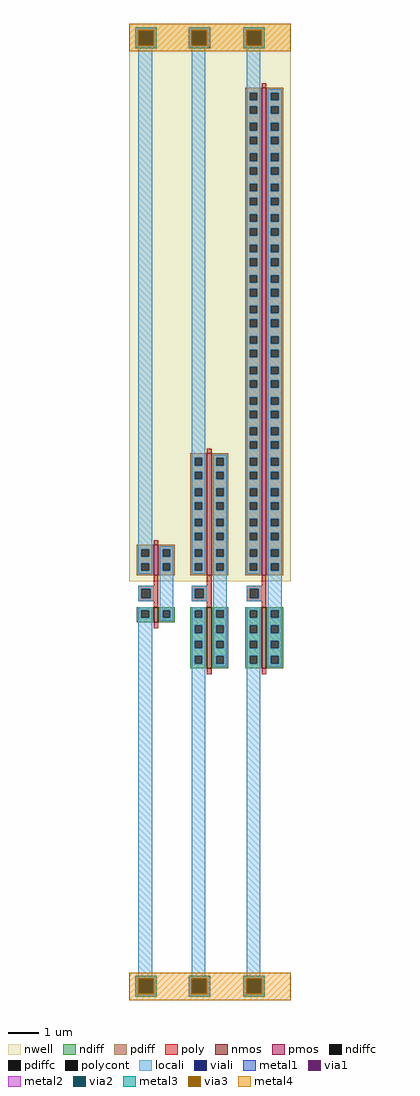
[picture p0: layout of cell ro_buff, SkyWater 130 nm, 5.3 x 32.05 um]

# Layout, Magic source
magic
tech sky130A
<< nwell >>
rect -80 125 450 1955
<< nmos >>
rect 0 -10 15 40
rect 175 -160 190 40
rect 355 -160 370 40
<< pmos >>
rect 0 145 15 245
rect 175 145 190 545
rect 355 145 370 1745
<< ndiff >>
rect -55 30 0 40
rect -55 5 -40 30
rect -15 5 0 30
rect -55 -10 0 5
rect 15 30 70 40
rect 15 5 30 30
rect 55 5 70 30
rect 15 -10 70 5
rect 120 30 175 40
rect 120 5 135 30
rect 160 5 175 30
rect 120 -20 175 5
rect 120 -45 135 -20
rect 160 -45 175 -20
rect 120 -70 175 -45
rect 120 -95 135 -70
rect 160 -95 175 -70
rect 120 -120 175 -95
rect 120 -145 135 -120
rect 160 -145 175 -120
rect 120 -160 175 -145
rect 190 30 245 40
rect 190 5 205 30
rect 230 5 245 30
rect 190 -20 245 5
rect 190 -45 205 -20
rect 230 -45 245 -20
rect 190 -70 245 -45
rect 190 -95 205 -70
rect 230 -95 245 -70
rect 190 -120 245 -95
rect 190 -145 205 -120
rect 230 -145 245 -120
rect 190 -160 245 -145
rect 300 30 355 40
rect 300 5 315 30
rect 340 5 355 30
rect 300 -20 355 5
rect 300 -45 315 -20
rect 340 -45 355 -20
rect 300 -70 355 -45
rect 300 -95 315 -70
rect 340 -95 355 -70
rect 300 -120 355 -95
rect 300 -145 315 -120
rect 340 -145 355 -120
rect 300 -160 355 -145
rect 370 30 425 40
rect 370 5 385 30
rect 410 5 425 30
rect 370 -20 425 5
rect 370 -45 385 -20
rect 410 -45 425 -20
rect 370 -70 425 -45
rect 370 -95 385 -70
rect 410 -95 425 -70
rect 370 -120 425 -95
rect 370 -145 385 -120
rect 410 -145 425 -120
rect 370 -160 425 -145
<< pdiff >>
rect 300 1730 355 1745
rect 300 1705 315 1730
rect 340 1705 355 1730
rect 300 1685 355 1705
rect 300 1660 315 1685
rect 340 1660 355 1685
rect 300 1630 355 1660
rect 300 1605 315 1630
rect 340 1605 355 1630
rect 300 1585 355 1605
rect 300 1560 315 1585
rect 340 1560 355 1585
rect 300 1530 355 1560
rect 300 1505 315 1530
rect 340 1505 355 1530
rect 300 1485 355 1505
rect 300 1460 315 1485
rect 340 1460 355 1485
rect 300 1430 355 1460
rect 300 1405 315 1430
rect 340 1405 355 1430
rect 300 1385 355 1405
rect 300 1360 315 1385
rect 340 1360 355 1385
rect 300 1330 355 1360
rect 300 1305 315 1330
rect 340 1305 355 1330
rect 300 1285 355 1305
rect 300 1260 315 1285
rect 340 1260 355 1285
rect 300 1230 355 1260
rect 300 1205 315 1230
rect 340 1205 355 1230
rect 300 1185 355 1205
rect 300 1160 315 1185
rect 340 1160 355 1185
rect 300 1130 355 1160
rect 300 1105 315 1130
rect 340 1105 355 1130
rect 300 1085 355 1105
rect 300 1060 315 1085
rect 340 1060 355 1085
rect 300 1030 355 1060
rect 300 1005 315 1030
rect 340 1005 355 1030
rect 300 985 355 1005
rect 300 960 315 985
rect 340 960 355 985
rect 300 930 355 960
rect 300 905 315 930
rect 340 905 355 930
rect 300 885 355 905
rect 300 860 315 885
rect 340 860 355 885
rect 300 830 355 860
rect 300 805 315 830
rect 340 805 355 830
rect 300 785 355 805
rect 300 760 315 785
rect 340 760 355 785
rect 300 730 355 760
rect 300 705 315 730
rect 340 705 355 730
rect 300 685 355 705
rect 300 660 315 685
rect 340 660 355 685
rect 300 630 355 660
rect 300 605 315 630
rect 340 605 355 630
rect 300 585 355 605
rect 300 560 315 585
rect 340 560 355 585
rect 120 530 175 545
rect 120 505 135 530
rect 160 505 175 530
rect 120 485 175 505
rect 120 460 135 485
rect 160 460 175 485
rect 120 430 175 460
rect 120 405 135 430
rect 160 405 175 430
rect 120 385 175 405
rect 120 360 135 385
rect 160 360 175 385
rect 120 330 175 360
rect 120 305 135 330
rect 160 305 175 330
rect 120 285 175 305
rect 120 260 135 285
rect 160 260 175 285
rect -55 230 0 245
rect -55 205 -40 230
rect -15 205 0 230
rect -55 185 0 205
rect -55 160 -40 185
rect -15 160 0 185
rect -55 145 0 160
rect 15 230 70 245
rect 15 205 30 230
rect 55 205 70 230
rect 15 185 70 205
rect 15 160 30 185
rect 55 160 70 185
rect 15 145 70 160
rect 120 230 175 260
rect 120 205 135 230
rect 160 205 175 230
rect 120 185 175 205
rect 120 160 135 185
rect 160 160 175 185
rect 120 145 175 160
rect 190 530 245 545
rect 190 505 205 530
rect 230 505 245 530
rect 190 485 245 505
rect 190 460 205 485
rect 230 460 245 485
rect 190 430 245 460
rect 190 405 205 430
rect 230 405 245 430
rect 190 385 245 405
rect 190 360 205 385
rect 230 360 245 385
rect 190 330 245 360
rect 190 305 205 330
rect 230 305 245 330
rect 190 285 245 305
rect 190 260 205 285
rect 230 260 245 285
rect 190 230 245 260
rect 190 205 205 230
rect 230 205 245 230
rect 190 185 245 205
rect 190 160 205 185
rect 230 160 245 185
rect 190 145 245 160
rect 300 530 355 560
rect 300 505 315 530
rect 340 505 355 530
rect 300 485 355 505
rect 300 460 315 485
rect 340 460 355 485
rect 300 430 355 460
rect 300 405 315 430
rect 340 405 355 430
rect 300 385 355 405
rect 300 360 315 385
rect 340 360 355 385
rect 300 330 355 360
rect 300 305 315 330
rect 340 305 355 330
rect 300 285 355 305
rect 300 260 315 285
rect 340 260 355 285
rect 300 230 355 260
rect 300 205 315 230
rect 340 205 355 230
rect 300 185 355 205
rect 300 160 315 185
rect 340 160 355 185
rect 300 145 355 160
rect 370 1730 425 1745
rect 370 1705 385 1730
rect 410 1705 425 1730
rect 370 1685 425 1705
rect 370 1660 385 1685
rect 410 1660 425 1685
rect 370 1630 425 1660
rect 370 1605 385 1630
rect 410 1605 425 1630
rect 370 1585 425 1605
rect 370 1560 385 1585
rect 410 1560 425 1585
rect 370 1530 425 1560
rect 370 1505 385 1530
rect 410 1505 425 1530
rect 370 1485 425 1505
rect 370 1460 385 1485
rect 410 1460 425 1485
rect 370 1430 425 1460
rect 370 1405 385 1430
rect 410 1405 425 1430
rect 370 1385 425 1405
rect 370 1360 385 1385
rect 410 1360 425 1385
rect 370 1330 425 1360
rect 370 1305 385 1330
rect 410 1305 425 1330
rect 370 1285 425 1305
rect 370 1260 385 1285
rect 410 1260 425 1285
rect 370 1230 425 1260
rect 370 1205 385 1230
rect 410 1205 425 1230
rect 370 1185 425 1205
rect 370 1160 385 1185
rect 410 1160 425 1185
rect 370 1130 425 1160
rect 370 1105 385 1130
rect 410 1105 425 1130
rect 370 1085 425 1105
rect 370 1060 385 1085
rect 410 1060 425 1085
rect 370 1030 425 1060
rect 370 1005 385 1030
rect 410 1005 425 1030
rect 370 985 425 1005
rect 370 960 385 985
rect 410 960 425 985
rect 370 930 425 960
rect 370 905 385 930
rect 410 905 425 930
rect 370 885 425 905
rect 370 860 385 885
rect 410 860 425 885
rect 370 830 425 860
rect 370 805 385 830
rect 410 805 425 830
rect 370 785 425 805
rect 370 760 385 785
rect 410 760 425 785
rect 370 730 425 760
rect 370 705 385 730
rect 410 705 425 730
rect 370 685 425 705
rect 370 660 385 685
rect 410 660 425 685
rect 370 630 425 660
rect 370 605 385 630
rect 410 605 425 630
rect 370 585 425 605
rect 370 560 385 585
rect 410 560 425 585
rect 370 530 425 560
rect 370 505 385 530
rect 410 505 425 530
rect 370 485 425 505
rect 370 460 385 485
rect 410 460 425 485
rect 370 430 425 460
rect 370 405 385 430
rect 410 405 425 430
rect 370 385 425 405
rect 370 360 385 385
rect 410 360 425 385
rect 370 330 425 360
rect 370 305 385 330
rect 410 305 425 330
rect 370 285 425 305
rect 370 260 385 285
rect 410 260 425 285
rect 370 230 425 260
rect 370 205 385 230
rect 410 205 425 230
rect 370 185 425 205
rect 370 160 385 185
rect 410 160 425 185
rect 370 145 425 160
<< ndiffc >>
rect -40 5 -15 30
rect 30 5 55 30
rect 135 5 160 30
rect 135 -45 160 -20
rect 135 -95 160 -70
rect 135 -145 160 -120
rect 205 5 230 30
rect 205 -45 230 -20
rect 205 -95 230 -70
rect 205 -145 230 -120
rect 315 5 340 30
rect 315 -45 340 -20
rect 315 -95 340 -70
rect 315 -145 340 -120
rect 385 5 410 30
rect 385 -45 410 -20
rect 385 -95 410 -70
rect 385 -145 410 -120
<< pdiffc >>
rect 315 1705 340 1730
rect 315 1660 340 1685
rect 315 1605 340 1630
rect 315 1560 340 1585
rect 315 1505 340 1530
rect 315 1460 340 1485
rect 315 1405 340 1430
rect 315 1360 340 1385
rect 315 1305 340 1330
rect 315 1260 340 1285
rect 315 1205 340 1230
rect 315 1160 340 1185
rect 315 1105 340 1130
rect 315 1060 340 1085
rect 315 1005 340 1030
rect 315 960 340 985
rect 315 905 340 930
rect 315 860 340 885
rect 315 805 340 830
rect 315 760 340 785
rect 315 705 340 730
rect 315 660 340 685
rect 315 605 340 630
rect 315 560 340 585
rect 135 505 160 530
rect 135 460 160 485
rect 135 405 160 430
rect 135 360 160 385
rect 135 305 160 330
rect 135 260 160 285
rect -40 205 -15 230
rect -40 160 -15 185
rect 30 205 55 230
rect 30 160 55 185
rect 135 205 160 230
rect 135 160 160 185
rect 205 505 230 530
rect 205 460 230 485
rect 205 405 230 430
rect 205 360 230 385
rect 205 305 230 330
rect 205 260 230 285
rect 205 205 230 230
rect 205 160 230 185
rect 315 505 340 530
rect 315 460 340 485
rect 315 405 340 430
rect 315 360 340 385
rect 315 305 340 330
rect 315 260 340 285
rect 315 205 340 230
rect 315 160 340 185
rect 385 1705 410 1730
rect 385 1660 410 1685
rect 385 1605 410 1630
rect 385 1560 410 1585
rect 385 1505 410 1530
rect 385 1460 410 1485
rect 385 1405 410 1430
rect 385 1360 410 1385
rect 385 1305 410 1330
rect 385 1260 410 1285
rect 385 1205 410 1230
rect 385 1160 410 1185
rect 385 1105 410 1130
rect 385 1060 410 1085
rect 385 1005 410 1030
rect 385 960 410 985
rect 385 905 410 930
rect 385 860 410 885
rect 385 805 410 830
rect 385 760 410 785
rect 385 705 410 730
rect 385 660 410 685
rect 385 605 410 630
rect 385 560 410 585
rect 385 505 410 530
rect 385 460 410 485
rect 385 405 410 430
rect 385 360 410 385
rect 385 305 410 330
rect 385 260 410 285
rect 385 205 410 230
rect 385 160 410 185
<< poly >>
rect 355 1745 370 1760
rect 175 545 190 560
rect 0 245 15 260
rect 0 110 15 145
rect 175 110 190 145
rect 355 110 370 145
rect -50 100 15 110
rect -50 70 -40 100
rect -10 70 15 100
rect -50 60 15 70
rect 125 100 190 110
rect 125 70 135 100
rect 165 70 190 100
rect 125 60 190 70
rect 305 100 370 110
rect 305 70 315 100
rect 345 70 370 100
rect 305 60 370 70
rect 0 40 15 60
rect 175 40 190 60
rect 355 40 370 60
rect 0 -30 15 -10
rect 175 -180 190 -160
rect 355 -180 370 -160
<< polycont >>
rect -40 70 -10 100
rect 135 70 165 100
rect 315 70 345 100
<< locali >>
rect -60 1935 10 1945
rect -60 1885 -50 1935
rect 0 1885 10 1935
rect -60 1875 10 1885
rect 115 1935 185 1945
rect 115 1885 125 1935
rect 175 1885 185 1935
rect 115 1875 185 1885
rect 295 1935 365 1945
rect 295 1885 305 1935
rect 355 1885 365 1935
rect 295 1875 365 1885
rect -50 230 -5 1875
rect 125 530 170 1875
rect 305 1730 350 1875
rect 305 1705 315 1730
rect 340 1705 350 1730
rect 305 1685 350 1705
rect 305 1660 315 1685
rect 340 1660 350 1685
rect 305 1630 350 1660
rect 305 1605 315 1630
rect 340 1605 350 1630
rect 305 1585 350 1605
rect 305 1560 315 1585
rect 340 1560 350 1585
rect 305 1530 350 1560
rect 305 1505 315 1530
rect 340 1505 350 1530
rect 305 1485 350 1505
rect 305 1460 315 1485
rect 340 1460 350 1485
rect 305 1430 350 1460
rect 305 1405 315 1430
rect 340 1405 350 1430
rect 305 1385 350 1405
rect 305 1360 315 1385
rect 340 1360 350 1385
rect 305 1330 350 1360
rect 305 1305 315 1330
rect 340 1305 350 1330
rect 305 1285 350 1305
rect 305 1260 315 1285
rect 340 1260 350 1285
rect 305 1230 350 1260
rect 305 1205 315 1230
rect 340 1205 350 1230
rect 305 1185 350 1205
rect 305 1160 315 1185
rect 340 1160 350 1185
rect 305 1130 350 1160
rect 305 1105 315 1130
rect 340 1105 350 1130
rect 305 1085 350 1105
rect 305 1060 315 1085
rect 340 1060 350 1085
rect 305 1030 350 1060
rect 305 1005 315 1030
rect 340 1005 350 1030
rect 305 985 350 1005
rect 305 960 315 985
rect 340 960 350 985
rect 305 930 350 960
rect 305 905 315 930
rect 340 905 350 930
rect 305 885 350 905
rect 305 860 315 885
rect 340 860 350 885
rect 305 830 350 860
rect 305 805 315 830
rect 340 805 350 830
rect 305 785 350 805
rect 305 760 315 785
rect 340 760 350 785
rect 305 730 350 760
rect 305 705 315 730
rect 340 705 350 730
rect 305 685 350 705
rect 305 660 315 685
rect 340 660 350 685
rect 305 630 350 660
rect 305 605 315 630
rect 340 605 350 630
rect 305 585 350 605
rect 305 560 315 585
rect 340 560 350 585
rect 125 505 135 530
rect 160 505 170 530
rect 125 485 170 505
rect 125 460 135 485
rect 160 460 170 485
rect 125 430 170 460
rect 125 405 135 430
rect 160 405 170 430
rect 125 385 170 405
rect 125 360 135 385
rect 160 360 170 385
rect 125 330 170 360
rect 125 305 135 330
rect 160 305 170 330
rect 125 285 170 305
rect 125 260 135 285
rect 160 260 170 285
rect -50 205 -40 230
rect -15 205 -5 230
rect -50 185 -5 205
rect -50 160 -40 185
rect -15 160 -5 185
rect -50 150 -5 160
rect 20 230 65 240
rect 20 205 30 230
rect 55 205 65 230
rect 20 185 65 205
rect 20 160 30 185
rect 55 160 65 185
rect -50 100 0 110
rect -50 70 -40 100
rect -10 70 0 100
rect -50 60 0 70
rect -50 30 -5 40
rect -50 5 -40 30
rect -15 5 -5 30
rect -50 -1170 -5 5
rect 20 30 65 160
rect 125 230 170 260
rect 125 205 135 230
rect 160 205 170 230
rect 125 185 170 205
rect 125 160 135 185
rect 160 160 170 185
rect 125 150 170 160
rect 195 530 240 540
rect 195 505 205 530
rect 230 505 240 530
rect 195 485 240 505
rect 195 460 205 485
rect 230 460 240 485
rect 195 430 240 460
rect 195 405 205 430
rect 230 405 240 430
rect 195 385 240 405
rect 195 360 205 385
rect 230 360 240 385
rect 195 330 240 360
rect 195 305 205 330
rect 230 305 240 330
rect 195 285 240 305
rect 195 260 205 285
rect 230 260 240 285
rect 195 230 240 260
rect 195 205 205 230
rect 230 205 240 230
rect 195 185 240 205
rect 195 160 205 185
rect 230 160 240 185
rect 125 100 175 110
rect 125 70 135 100
rect 165 70 175 100
rect 125 60 175 70
rect 20 5 30 30
rect 55 5 65 30
rect 20 -5 65 5
rect 125 30 170 40
rect 125 5 135 30
rect 160 5 170 30
rect 125 -20 170 5
rect 125 -45 135 -20
rect 160 -45 170 -20
rect 125 -70 170 -45
rect 125 -95 135 -70
rect 160 -95 170 -70
rect 125 -120 170 -95
rect 125 -145 135 -120
rect 160 -145 170 -120
rect 125 -1170 170 -145
rect 195 30 240 160
rect 305 530 350 560
rect 305 505 315 530
rect 340 505 350 530
rect 305 485 350 505
rect 305 460 315 485
rect 340 460 350 485
rect 305 430 350 460
rect 305 405 315 430
rect 340 405 350 430
rect 305 385 350 405
rect 305 360 315 385
rect 340 360 350 385
rect 305 330 350 360
rect 305 305 315 330
rect 340 305 350 330
rect 305 285 350 305
rect 305 260 315 285
rect 340 260 350 285
rect 305 230 350 260
rect 305 205 315 230
rect 340 205 350 230
rect 305 185 350 205
rect 305 160 315 185
rect 340 160 350 185
rect 305 150 350 160
rect 375 1730 420 1740
rect 375 1705 385 1730
rect 410 1705 420 1730
rect 375 1685 420 1705
rect 375 1660 385 1685
rect 410 1660 420 1685
rect 375 1630 420 1660
rect 375 1605 385 1630
rect 410 1605 420 1630
rect 375 1585 420 1605
rect 375 1560 385 1585
rect 410 1560 420 1585
rect 375 1530 420 1560
rect 375 1505 385 1530
rect 410 1505 420 1530
rect 375 1485 420 1505
rect 375 1460 385 1485
rect 410 1460 420 1485
rect 375 1430 420 1460
rect 375 1405 385 1430
rect 410 1405 420 1430
rect 375 1385 420 1405
rect 375 1360 385 1385
rect 410 1360 420 1385
rect 375 1330 420 1360
rect 375 1305 385 1330
rect 410 1305 420 1330
rect 375 1285 420 1305
rect 375 1260 385 1285
rect 410 1260 420 1285
rect 375 1230 420 1260
rect 375 1205 385 1230
rect 410 1205 420 1230
rect 375 1185 420 1205
rect 375 1160 385 1185
rect 410 1160 420 1185
rect 375 1130 420 1160
rect 375 1105 385 1130
rect 410 1105 420 1130
rect 375 1085 420 1105
rect 375 1060 385 1085
rect 410 1060 420 1085
rect 375 1030 420 1060
rect 375 1005 385 1030
rect 410 1005 420 1030
rect 375 985 420 1005
rect 375 960 385 985
rect 410 960 420 985
rect 375 930 420 960
rect 375 905 385 930
rect 410 905 420 930
rect 375 885 420 905
rect 375 860 385 885
rect 410 860 420 885
rect 375 830 420 860
rect 375 805 385 830
rect 410 805 420 830
rect 375 785 420 805
rect 375 760 385 785
rect 410 760 420 785
rect 375 730 420 760
rect 375 705 385 730
rect 410 705 420 730
rect 375 685 420 705
rect 375 660 385 685
rect 410 660 420 685
rect 375 630 420 660
rect 375 605 385 630
rect 410 605 420 630
rect 375 585 420 605
rect 375 560 385 585
rect 410 560 420 585
rect 375 530 420 560
rect 375 505 385 530
rect 410 505 420 530
rect 375 485 420 505
rect 375 460 385 485
rect 410 460 420 485
rect 375 430 420 460
rect 375 405 385 430
rect 410 405 420 430
rect 375 385 420 405
rect 375 360 385 385
rect 410 360 420 385
rect 375 330 420 360
rect 375 305 385 330
rect 410 305 420 330
rect 375 285 420 305
rect 375 260 385 285
rect 410 260 420 285
rect 375 230 420 260
rect 375 205 385 230
rect 410 205 420 230
rect 375 185 420 205
rect 375 160 385 185
rect 410 160 420 185
rect 305 100 355 110
rect 305 70 315 100
rect 345 70 355 100
rect 305 60 355 70
rect 195 5 205 30
rect 230 5 240 30
rect 195 -20 240 5
rect 195 -45 205 -20
rect 230 -45 240 -20
rect 195 -70 240 -45
rect 195 -95 205 -70
rect 230 -95 240 -70
rect 195 -120 240 -95
rect 195 -145 205 -120
rect 230 -145 240 -120
rect 195 -155 240 -145
rect 305 30 350 40
rect 305 5 315 30
rect 340 5 350 30
rect 305 -20 350 5
rect 305 -45 315 -20
rect 340 -45 350 -20
rect 305 -70 350 -45
rect 305 -95 315 -70
rect 340 -95 350 -70
rect 305 -120 350 -95
rect 305 -145 315 -120
rect 340 -145 350 -120
rect 305 -1170 350 -145
rect 375 30 420 160
rect 375 5 385 30
rect 410 5 420 30
rect 375 -20 420 5
rect 375 -45 385 -20
rect 410 -45 420 -20
rect 375 -70 420 -45
rect 375 -95 385 -70
rect 410 -95 420 -70
rect 375 -120 420 -95
rect 375 -145 385 -120
rect 410 -145 420 -120
rect 375 -155 420 -145
rect -60 -1180 10 -1170
rect -60 -1230 -50 -1180
rect 0 -1230 10 -1180
rect -60 -1240 10 -1230
rect 115 -1180 185 -1170
rect 115 -1230 125 -1180
rect 175 -1230 185 -1180
rect 115 -1240 185 -1230
rect 295 -1180 365 -1170
rect 295 -1230 305 -1180
rect 355 -1230 365 -1180
rect 295 -1240 365 -1230
<< viali >>
rect -50 1885 0 1935
rect 125 1885 175 1935
rect 305 1885 355 1935
rect -50 -1230 0 -1180
rect 125 -1230 175 -1180
rect 305 -1230 355 -1180
<< metal1 >>
rect -60 1935 10 1945
rect -60 1885 -50 1935
rect 0 1885 10 1935
rect -60 1875 10 1885
rect 115 1935 185 1945
rect 115 1885 125 1935
rect 175 1885 185 1935
rect 115 1875 185 1885
rect 295 1935 365 1945
rect 295 1885 305 1935
rect 355 1885 365 1935
rect 295 1875 365 1885
rect -60 -1180 10 -1170
rect -60 -1230 -50 -1180
rect 0 -1230 10 -1180
rect -60 -1240 10 -1230
rect 115 -1180 185 -1170
rect 115 -1230 125 -1180
rect 175 -1230 185 -1180
rect 115 -1240 185 -1230
rect 295 -1180 365 -1170
rect 295 -1230 305 -1180
rect 355 -1230 365 -1180
rect 295 -1240 365 -1230
<< via1 >>
rect -50 1885 0 1935
rect 125 1885 175 1935
rect 305 1885 355 1935
rect -50 -1230 0 -1180
rect 125 -1230 175 -1180
rect 305 -1230 355 -1180
<< metal2 >>
rect -60 1935 10 1945
rect -60 1885 -50 1935
rect 0 1885 10 1935
rect -60 1875 10 1885
rect 115 1935 185 1945
rect 115 1885 125 1935
rect 175 1885 185 1935
rect 115 1875 185 1885
rect 295 1935 365 1945
rect 295 1885 305 1935
rect 355 1885 365 1935
rect 295 1875 365 1885
rect -60 -1180 10 -1170
rect -60 -1230 -50 -1180
rect 0 -1230 10 -1180
rect -60 -1240 10 -1230
rect 115 -1180 185 -1170
rect 115 -1230 125 -1180
rect 175 -1230 185 -1180
rect 115 -1240 185 -1230
rect 295 -1180 365 -1170
rect 295 -1230 305 -1180
rect 355 -1230 365 -1180
rect 295 -1240 365 -1230
<< via2 >>
rect -50 1885 0 1935
rect 125 1885 175 1935
rect 305 1885 355 1935
rect -50 -1230 0 -1180
rect 125 -1230 175 -1180
rect 305 -1230 355 -1180
<< metal3 >>
rect -60 1935 10 1945
rect -60 1885 -50 1935
rect 0 1885 10 1935
rect -60 1875 10 1885
rect 115 1935 185 1945
rect 115 1885 125 1935
rect 175 1885 185 1935
rect 115 1875 185 1885
rect 295 1935 365 1945
rect 295 1885 305 1935
rect 355 1885 365 1935
rect 295 1875 365 1885
rect -60 -1180 10 -1170
rect -60 -1230 -50 -1180
rect 0 -1230 10 -1180
rect -60 -1240 10 -1230
rect 115 -1180 185 -1170
rect 115 -1230 125 -1180
rect 175 -1230 185 -1180
rect 115 -1240 185 -1230
rect 295 -1180 365 -1170
rect 295 -1230 305 -1180
rect 355 -1230 365 -1180
rect 295 -1240 365 -1230
<< via3 >>
rect -50 1885 0 1935
rect 125 1885 175 1935
rect 305 1885 355 1935
rect -50 -1230 0 -1180
rect 125 -1230 175 -1180
rect 305 -1230 355 -1180
<< metal4 >>
rect -80 1935 450 1955
rect -80 1885 -50 1935
rect 0 1885 125 1935
rect 175 1885 305 1935
rect 355 1885 450 1935
rect -80 1865 450 1885
rect -80 -1180 450 -1160
rect -80 -1230 -50 -1180
rect 0 -1230 125 -1180
rect 175 -1230 305 -1180
rect 355 -1230 450 -1180
rect -80 -1250 450 -1230
<< end >>
